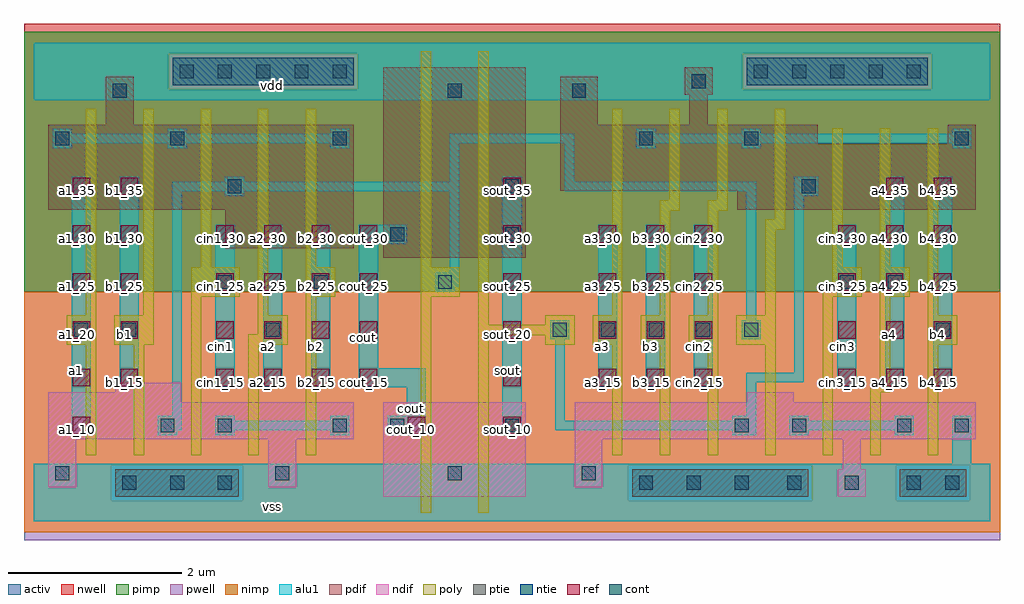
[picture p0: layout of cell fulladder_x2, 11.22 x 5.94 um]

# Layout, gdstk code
import gdstk
lib = gdstk.Library(unit=1e-6, precision=2.5e-09)
def R(c, l, rs):  # rectangles x0, y0, x1, y1
    for r in rs: c.add(gdstk.rectangle(r[:2], r[2:], *l))
def A(c, l, x, y, w, h, nx, ny, dx, dy):  # array of equal rectangles
    R(c, l, [(x+i*dx, y+j*dy, x+i*dx+w, y+j*dy+h) for i in range(nx) for j in range(ny)])
ndif = (3, 0)
pdif = (4, 0)
ntie = (5, 0)
ptie = (6, 0)
ref = (24, 0)
cont = (25, 0)
pwell = (41, 0)
nwell = (42, 0)
activ = (43, 0)
pimp = (44, 0)
nimp = (45, 0)
poly = (46, 0)
alu1 = (49, 0)

fulladder_x2 = lib.new_cell('fulladder_x2')
R(fulladder_x2, ndif, [(4.02,0.28,5.66,1.37), (4.02,0.28,5.66,1.37), (9.245,0.28,9.565,0.6), (9.245,0.28,9.565,0.6), (0.17,0.39,0.49,0.94), (0.17,0.39,0.49,0.94), (2.7,0.39,3.02,0.94), (2.7,0.39,3.02,0.94), (6.22,0.39,6.54,0.94), (6.22,0.39,6.54,0.94), (9.3,0.6,9.51,0.94), (9.3,0.6,9.51,0.94), (0.17,0.94,3.68,1.37), (0.17,0.94,3.68,1.37), (6.22,0.94,10.83,1.37), (6.22,0.94,10.83,1.37), (0.17,1.37,1.7,1.48), (0.17,1.37,1.7,1.48), (8.2,1.37,8.74,1.48), (8.2,1.37,8.74,1.48), (0.94,1.48,1.7,1.59), (0.94,1.48,1.7,1.59)])
R(fulladder_x2, pdif, [(4.02,3.03,5.66,5.22), (4.02,3.03,5.66,5.22), (2.205,3.14,3.68,3.58), (2.205,3.14,3.68,3.58), (0.17,3.58,3.68,4.56), (0.17,3.58,3.68,4.56), (8.09,3.58,10.83,3.8), (8.09,3.58,10.83,3.8), (6.055,3.8,10.83,4.34), (6.055,3.8,10.83,4.34), (6.055,4.34,9.015,4.56), (6.055,4.34,9.015,4.56), (10.51,4.34,10.83,4.56), (10.51,4.34,10.83,4.56), (0.83,4.56,1.15,5.11), (0.83,4.56,1.15,5.11), (6.055,4.56,6.485,5.11), (6.055,4.56,6.485,5.11), (7.54,4.56,7.75,4.9), (7.54,4.56,7.75,4.9), (7.485,4.9,7.805,5.22), (7.485,4.9,7.805,5.22)])
R(fulladder_x2, ntie, [(1.6,5.01,3.68,5.33), (1.6,5.01,3.68,5.33), (8.2,5.01,10.28,5.33), (8.2,5.01,10.28,5.33)])
R(fulladder_x2, ptie, [(0.94,0.28,2.36,0.6), (0.94,0.28,2.36,0.6), (6.88,0.28,8.905,0.6), (6.88,0.28,8.905,0.6), (9.96,0.28,10.72,0.6), (9.96,0.28,10.72,0.6)])
A(fulladder_x2, ref, 0.45, 1, 0.2, 0.2, 1, 6, 0, 0.55)
A(fulladder_x2, ref, 5.4, 1, 0.2, 0.2, 1, 5, 0, 0.55)
A(fulladder_x2, ref, 1, 1.55, 0.2, 0.2, 1, 4, 0, 0.55)
A(fulladder_x2, ref, 2.1, 1.55, 0.2, 0.2, 4, 4, 0.55, 0.55)
A(fulladder_x2, ref, 6.5, 1.55, 0.2, 0.2, 3, 4, 0.55, 0.55)
A(fulladder_x2, ref, 9.25, 1.55, 0.2, 0.2, 3, 4, 0.55, 0.55)
A(fulladder_x2, ref, 1, 3.75, 0.2, 0.2, 3, 1, 4.4, 0)
R(fulladder_x2, ref, [(4.3,1,4.5,1.2), (10.35,3.75,10.55,3.95)])
A(fulladder_x2, cont, 1.02, 0.36, 0.16, 0.16, 3, 1, 0.55, 0)
A(fulladder_x2, cont, 6.96, 0.36, 0.16, 0.16, 3, 1, 0.55, 0)
A(fulladder_x2, cont, 5.97, 2.12, 0.16, 0.16, 5, 1, 0.55, 0)
A(fulladder_x2, cont, 1.68, 5.09, 0.16, 0.16, 5, 1, 0.44, 0)
A(fulladder_x2, cont, 8.28, 5.09, 0.16, 0.16, 5, 1, 0.44, 0)
R(fulladder_x2, cont, [(8.665,0.36,8.825,0.52), (9.325,0.36,9.485,0.52), (10.04,0.36,10.2,0.52), (10.48,0.36,10.64,0.52), (0.25,0.47,0.41,0.63), (2.78,0.47,2.94,0.63), (4.76,0.47,4.92,0.63), (6.3,0.47,6.46,0.63), (1.46,1.02,1.62,1.18), (2.12,1.02,2.28,1.18), (3.44,1.02,3.6,1.18), (4.1,1.02,4.26,1.18), (5.42,1.02,5.58,1.18), (8.06,1.02,8.22,1.18), (8.72,1.02,8.88,1.18), (9.93,1.02,10.09,1.18), (10.59,1.02,10.75,1.18), (0.47,2.12,0.63,2.28), (1.02,2.12,1.18,2.28), (2.67,2.12,2.83,2.28), (10.37,2.12,10.53,2.28), (2.12,2.67,2.28,2.83), (3.22,2.67,3.38,2.83), (4.65,2.67,4.81,2.83), (9.27,2.67,9.43,2.83), (9.82,2.67,9.98,2.83), (4.1,3.22,4.26,3.38), (5.42,3.22,5.58,3.38), (2.23,3.77,2.39,3.93), (5.42,3.77,5.58,3.93), (8.83,3.77,8.99,3.93), (0.25,4.32,0.41,4.48), (1.57,4.32,1.73,4.48), (3.44,4.32,3.6,4.48), (6.96,4.32,7.12,4.48), (8.17,4.32,8.33,4.48), (10.59,4.32,10.75,4.48), (0.91,4.87,1.07,5.03), (4.76,4.87,4.92,5.03), (6.19,4.87,6.35,5.03), (7.565,4.98,7.725,5.14)])
R(fulladder_x2, pwell, [(-0.11,-0.22,11.11,2.64)])
R(fulladder_x2, nwell, [(-0.11,2.64,11.11,5.72)])
R(fulladder_x2, activ, [(0.94,0.28,2.36,0.6), (0.94,0.28,2.36,0.6), (4.02,0.28,5.66,1.37), (4.02,0.28,5.66,1.37), (6.88,0.28,8.905,0.6), (6.88,0.28,8.905,0.6), (9.245,0.28,9.565,0.6), (9.245,0.28,9.565,0.6), (9.96,0.28,10.72,0.6), (9.96,0.28,10.72,0.6), (0.17,0.39,0.49,0.94), (0.17,0.39,0.49,0.94), (2.7,0.39,3.02,0.94), (2.7,0.39,3.02,0.94), (6.22,0.39,6.54,0.94), (6.22,0.39,6.54,0.94), (9.3,0.6,9.51,0.94), (9.3,0.6,9.51,0.94), (0.17,0.94,3.68,1.37), (0.17,0.94,3.68,1.37), (6.22,0.94,10.83,1.37), (6.22,0.94,10.83,1.37), (0.17,1.37,1.7,1.48), (0.17,1.37,1.7,1.48), (8.2,1.37,8.74,1.48), (8.2,1.37,8.74,1.48), (0.94,1.48,1.7,1.59), (0.94,1.48,1.7,1.59), (4.02,3.03,5.66,5.22), (4.02,3.03,5.66,5.22), (2.205,3.14,3.68,3.58), (2.205,3.14,3.68,3.58), (0.17,3.58,3.68,4.56), (0.17,3.58,3.68,4.56), (8.09,3.58,10.83,3.8), (8.09,3.58,10.83,3.8), (6.055,3.8,10.83,4.34), (6.055,3.8,10.83,4.34), (6.055,4.34,9.015,4.56), (6.055,4.34,9.015,4.56), (10.51,4.34,10.83,4.56), (10.51,4.34,10.83,4.56), (0.83,4.56,1.15,5.11), (0.83,4.56,1.15,5.11), (6.055,4.56,6.485,5.11), (6.055,4.56,6.485,5.11), (7.54,4.56,7.75,4.9), (7.54,4.56,7.75,4.9), (7.485,4.9,7.805,5.22), (7.485,4.9,7.805,5.22), (1.6,5.01,3.68,5.33), (1.6,5.01,3.68,5.33), (8.2,5.01,10.28,5.33), (8.2,5.01,10.28,5.33)])
R(fulladder_x2, pimp, [(0.895,0.235,2.405,0.645), (6.835,0.235,8.95,0.645), (9.915,0.235,10.765,0.645), (-0.11,2.64,11.11,4.965), (-0.11,4.965,1.555,5.375), (3.725,4.965,8.155,5.375), (10.325,4.965,11.11,5.375), (-0.11,5.375,11.11,5.625)])
R(fulladder_x2, nimp, [(-0.11,-0.125,11.11,0.235), (-0.11,0.235,0.895,0.645), (2.405,0.235,6.835,0.645), (8.95,0.235,9.915,0.645), (10.765,0.235,11.11,0.645), (-0.11,0.645,11.11,2.64), (1.555,4.965,3.725,5.375), (8.155,4.965,10.325,5.375)])
A(fulladder_x2, poly, 6.65, 0.76, 0.12, 1.27, 3, 1, 0.55, 0)
A(fulladder_x2, poly, 6.43, 2.03, 0.34, 0.34, 3, 1, 0.55, 0)
R(fulladder_x2, poly, [(4.45,0.1,4.57,2.58), (5.11,0.1,5.23,2.14), (0.6,0.76,0.72,2.03), (1.15,0.76,1.27,2.03), (1.81,0.76,1.93,2.58), (2.47,0.76,2.59,2.03), (3.13,0.76,3.25,2.58), (8.41,0.76,8.53,2.03), (9.07,0.76,9.19,2.58), (9.62,0.76,9.74,1.48), (10.28,0.76,10.4,2.03), (9.62,1.48,9.85,1.6), (9.73,1.6,9.85,2.58), (0.38,2.03,0.72,2.37), (0.93,2.03,1.38,2.37), (2.47,2.03,2.92,2.15), (5.88,2.03,6.22,2.14), (8.08,2.03,8.53,2.37), (10.28,2.03,10.62,2.37), (5.11,2.14,6.22,2.26), (2.58,2.15,2.92,2.37), (5.11,2.26,5.23,5.4), (5.88,2.26,6.22,2.37), (0.6,2.37,0.72,4.74), (1.26,2.37,1.38,4.74), (2.58,2.37,2.7,4.74), (6.65,2.37,6.77,4.74), (7.2,2.37,7.32,3.57), (7.75,2.37,7.87,3.57), (8.41,2.37,8.53,3.35), (10.28,2.37,10.4,4.52), (1.81,2.58,2.37,2.92), (3.13,2.58,3.47,2.92), (4.45,2.58,4.9,2.92), (9.07,2.58,9.52,2.7), (9.73,2.58,10.07,2.92), (9.18,2.7,9.52,2.92), (1.92,2.92,2.04,4.74), (3.13,2.92,3.25,4.74), (4.45,2.92,4.57,5.4), (9.18,2.92,9.3,4.52), (9.73,2.92,9.85,4.52), (8.41,3.35,8.64,3.47), (8.52,3.47,8.64,4.74), (7.2,3.57,7.43,3.69), (7.75,3.57,7.98,3.69), (7.31,3.69,7.43,4.74), (7.86,3.69,7.98,4.74)])
A(fulladder_x2, alu1, 2.09, 1.54, 0.22, 1.87, 3, 1, 0.55, 0)
A(fulladder_x2, alu1, 6.49, 1.54, 0.22, 1.87, 3, 1, 0.55, 0)
R(fulladder_x2, alu1, [(0,0,11,0.66), (10.56,0.66,10.78,1.21), (0.44,0.99,0.66,3.96), (1.43,0.99,1.65,1.045), (2.09,0.99,2.31,1.045), (3.41,0.99,3.63,1.045), (4.07,0.99,4.51,1.21), (5.39,0.99,5.61,3.96), (8.03,0.99,8.305,1.045), (8.69,0.99,8.91,1.045), (9.9,0.99,10.12,1.045), (1.43,1.045,1.705,1.21), (2.09,1.045,3.63,1.155), (5.995,1.045,8.305,1.155), (8.69,1.045,10.12,1.155), (2.09,1.155,2.31,1.21), (3.41,1.155,3.63,1.21), (5.995,1.155,6.105,2.09), (8.03,1.155,8.305,1.21), (8.69,1.155,8.91,1.21), (9.9,1.155,10.12,1.21), (1.595,1.21,1.705,3.795), (4.29,1.21,4.51,1.54), (8.195,1.21,8.305,1.595), (0.99,1.54,1.21,3.96), (3.74,1.54,4.51,1.76), (9.24,1.54,9.46,3.41), (9.79,1.54,10.01,3.96), (10.34,1.54,10.56,3.96), (8.195,1.595,8.855,1.705), (8.745,1.705,8.855,3.74), (3.74,1.76,3.96,3.19), (5.94,2.09,6.16,2.31), (8.14,2.09,8.36,2.31), (8.195,2.31,8.305,3.795), (4.62,2.64,4.84,2.695), (4.62,2.695,4.895,2.86), (4.785,2.86,4.895,3.795), (3.74,3.19,4.29,3.41), (2.2,3.74,2.42,3.795), (8.745,3.74,9.02,3.96), (1.595,3.795,4.895,3.905), (6.105,3.795,8.305,3.905), (2.2,3.905,2.42,3.96), (4.785,3.905,4.895,4.345), (6.105,3.905,6.215,4.345), (0.22,4.29,0.44,4.345), (1.54,4.29,1.76,4.345), (3.41,4.29,3.63,4.345), (6.93,4.29,7.15,4.345), (8.14,4.29,8.36,4.345), (10.56,4.29,10.78,4.345), (0.22,4.345,3.63,4.455), (4.785,4.345,6.215,4.455), (6.93,4.345,10.78,4.455), (0.22,4.455,0.44,4.51), (1.54,4.455,1.76,4.51), (3.41,4.455,3.63,4.51), (6.93,4.455,7.15,4.51), (8.14,4.455,8.36,4.51), (10.56,4.455,10.78,4.51), (0,4.84,11,5.5)])
fulladder_x2.add(gdstk.Label('vss', (2.75,0.165), layer=49, texttype=0))
fulladder_x2.add(gdstk.Label('b4', (10.395,2.145), layer=49, texttype=0))
fulladder_x2.add(gdstk.Label('a4', (9.845,2.145), layer=49, texttype=0))
fulladder_x2.add(gdstk.Label('cin3', (9.295,2.0075), layer=49, texttype=0))
fulladder_x2.add(gdstk.Label('cin2', (7.645,2.0075), layer=49, texttype=0))
fulladder_x2.add(gdstk.Label('b3', (7.095,2.0075), layer=49, texttype=0))
fulladder_x2.add(gdstk.Label('a3', (6.545,2.0075), layer=49, texttype=0))
fulladder_x2.add(gdstk.Label('sout', (5.445,1.7325), layer=49, texttype=0))
fulladder_x2.add(gdstk.Label('cout', (4.345,1.2925), layer=49, texttype=0))
fulladder_x2.add(gdstk.Label('cout', (3.795,2.1175), layer=49, texttype=0))
fulladder_x2.add(gdstk.Label('b2', (3.245,2.0075), layer=49, texttype=0))
fulladder_x2.add(gdstk.Label('a2', (2.695,2.0075), layer=49, texttype=0))
fulladder_x2.add(gdstk.Label('cin1', (2.145,2.0075), layer=49, texttype=0))
fulladder_x2.add(gdstk.Label('b1', (1.045,2.145), layer=49, texttype=0))
fulladder_x2.add(gdstk.Label('a1', (0.495,1.7325), layer=49, texttype=0))
fulladder_x2.add(gdstk.Label('vdd', (2.75,5.005), layer=49, texttype=0))
fulladder_x2.add(gdstk.Label('a1_15', (0.5,1.6), layer=24, texttype=0))
fulladder_x2.add(gdstk.Label('a1_20', (0.5,2.15), layer=24, texttype=0))
fulladder_x2.add(gdstk.Label('a1_25', (0.5,2.7), layer=24, texttype=0))
fulladder_x2.add(gdstk.Label('a1_30', (0.5,3.25), layer=24, texttype=0))
fulladder_x2.add(gdstk.Label('b1_15', (1.05,1.6), layer=24, texttype=0))
fulladder_x2.add(gdstk.Label('b1_20', (1.05,2.15), layer=24, texttype=0))
fulladder_x2.add(gdstk.Label('b1_25', (1.05,2.7), layer=24, texttype=0))
fulladder_x2.add(gdstk.Label('b1_30', (1.05,3.25), layer=24, texttype=0))
fulladder_x2.add(gdstk.Label('cin1_15', (2.15,1.6), layer=24, texttype=0))
fulladder_x2.add(gdstk.Label('cin1_20', (2.15,2.15), layer=24, texttype=0))
fulladder_x2.add(gdstk.Label('cin1_25', (2.15,2.7), layer=24, texttype=0))
fulladder_x2.add(gdstk.Label('cin1_30', (2.15,3.25), layer=24, texttype=0))
fulladder_x2.add(gdstk.Label('a2_15', (2.7,1.6), layer=24, texttype=0))
fulladder_x2.add(gdstk.Label('a2_20', (2.7,2.15), layer=24, texttype=0))
fulladder_x2.add(gdstk.Label('a2_25', (2.7,2.7), layer=24, texttype=0))
fulladder_x2.add(gdstk.Label('a2_30', (2.7,3.25), layer=24, texttype=0))
fulladder_x2.add(gdstk.Label('b2_15', (3.25,1.6), layer=24, texttype=0))
fulladder_x2.add(gdstk.Label('b2_20', (3.25,2.15), layer=24, texttype=0))
fulladder_x2.add(gdstk.Label('b2_25', (3.25,2.7), layer=24, texttype=0))
fulladder_x2.add(gdstk.Label('b2_30', (3.25,3.25), layer=24, texttype=0))
fulladder_x2.add(gdstk.Label('cout_15', (3.8,1.6), layer=24, texttype=0))
fulladder_x2.add(gdstk.Label('cout_20', (3.8,2.15), layer=24, texttype=0))
fulladder_x2.add(gdstk.Label('cout_25', (3.8,2.7), layer=24, texttype=0))
fulladder_x2.add(gdstk.Label('cout_30', (3.8,3.25), layer=24, texttype=0))
fulladder_x2.add(gdstk.Label('cout_10', (4.35,1.05), layer=24, texttype=0))
fulladder_x2.add(gdstk.Label('sout_10', (5.45,1.05), layer=24, texttype=0))
fulladder_x2.add(gdstk.Label('sout_15', (5.45,1.6), layer=24, texttype=0))
fulladder_x2.add(gdstk.Label('sout_20', (5.45,2.15), layer=24, texttype=0))
fulladder_x2.add(gdstk.Label('sout_25', (5.45,2.7), layer=24, texttype=0))
fulladder_x2.add(gdstk.Label('sout_30', (5.45,3.25), layer=24, texttype=0))
fulladder_x2.add(gdstk.Label('sout_35', (5.45,3.8), layer=24, texttype=0))
fulladder_x2.add(gdstk.Label('a3_15', (6.55,1.6), layer=24, texttype=0))
fulladder_x2.add(gdstk.Label('a3_20', (6.55,2.15), layer=24, texttype=0))
fulladder_x2.add(gdstk.Label('a3_25', (6.55,2.7), layer=24, texttype=0))
fulladder_x2.add(gdstk.Label('a3_30', (6.55,3.25), layer=24, texttype=0))
fulladder_x2.add(gdstk.Label('b3_15', (7.1,1.6), layer=24, texttype=0))
fulladder_x2.add(gdstk.Label('b3_20', (7.1,2.15), layer=24, texttype=0))
fulladder_x2.add(gdstk.Label('b3_25', (7.1,2.7), layer=24, texttype=0))
fulladder_x2.add(gdstk.Label('b3_30', (7.1,3.25), layer=24, texttype=0))
fulladder_x2.add(gdstk.Label('cin2_15', (7.65,1.6), layer=24, texttype=0))
fulladder_x2.add(gdstk.Label('cin2_20', (7.65,2.15), layer=24, texttype=0))
fulladder_x2.add(gdstk.Label('cin2_25', (7.65,2.7), layer=24, texttype=0))
fulladder_x2.add(gdstk.Label('cin2_30', (7.65,3.25), layer=24, texttype=0))
fulladder_x2.add(gdstk.Label('cin3_15', (9.3,1.6), layer=24, texttype=0))
fulladder_x2.add(gdstk.Label('cin3_20', (9.3,2.15), layer=24, texttype=0))
fulladder_x2.add(gdstk.Label('cin3_25', (9.3,2.7), layer=24, texttype=0))
fulladder_x2.add(gdstk.Label('cin3_30', (9.3,3.25), layer=24, texttype=0))
fulladder_x2.add(gdstk.Label('a4_15', (9.85,1.6), layer=24, texttype=0))
fulladder_x2.add(gdstk.Label('a4_20', (9.85,2.15), layer=24, texttype=0))
fulladder_x2.add(gdstk.Label('a4_25', (9.85,2.7), layer=24, texttype=0))
fulladder_x2.add(gdstk.Label('a4_30', (9.85,3.25), layer=24, texttype=0))
fulladder_x2.add(gdstk.Label('b4_15', (10.4,1.6), layer=24, texttype=0))
fulladder_x2.add(gdstk.Label('b4_20', (10.4,2.15), layer=24, texttype=0))
fulladder_x2.add(gdstk.Label('b4_25', (10.4,2.7), layer=24, texttype=0))
fulladder_x2.add(gdstk.Label('b4_30', (10.4,3.25), layer=24, texttype=0))
fulladder_x2.add(gdstk.Label('a1_10', (0.5,1.05), layer=24, texttype=0))
fulladder_x2.add(gdstk.Label('a1_35', (0.5,3.8), layer=24, texttype=0))
fulladder_x2.add(gdstk.Label('b1_35', (1.05,3.8), layer=24, texttype=0))
fulladder_x2.add(gdstk.Label('a4_35', (9.85,3.8), layer=24, texttype=0))
fulladder_x2.add(gdstk.Label('b4_35', (10.4,3.8), layer=24, texttype=0))

lib.write_gds('fulladder_x2.gds')
